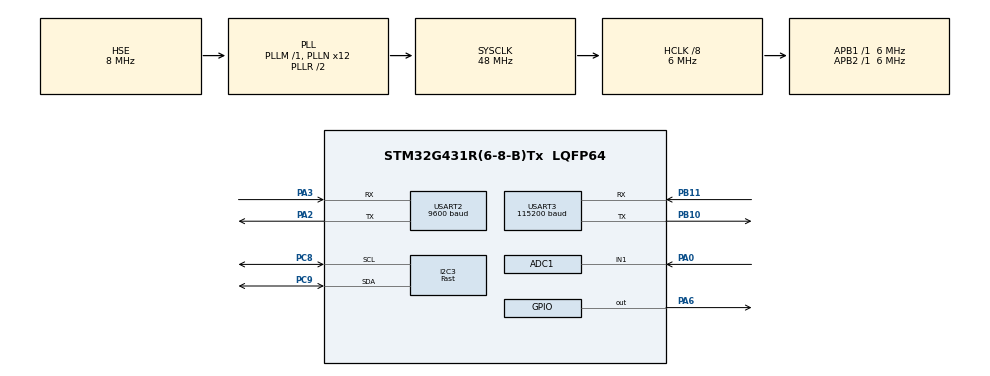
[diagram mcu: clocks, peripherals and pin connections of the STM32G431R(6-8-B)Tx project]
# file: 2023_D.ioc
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ADC1.Channel-0\#ChannelRegularConversion=ADC_CHANNEL_1
ADC1.ExternalTrigConv=ADC_EXTERNALTRIG_T3_TRGO
ADC1.NbrOfConversionFlag=1
ADC1.OffsetNumber-0\#ChannelRegularConversion=ADC_OFFSET_NONE
ADC1.Rank-0\#ChannelRegularConversion=1
ADC1.Resolution=ADC_RESOLUTION_10B
ADC1.SamplingTime-0\#ChannelRegularConversion=ADC_SAMPLETIME_2CYCLES_5
ADC1.master=1
Dma.ADC1.0.Direction=DMA_PERIPH_TO_MEMORY
Dma.ADC1.0.EventEnable=DISABLE
Dma.ADC1.0.Instance=DMA1_Channel1
Dma.ADC1.0.MemDataAlignment=DMA_MDATAALIGN_HALFWORD
Dma.ADC1.0.MemInc=DMA_MINC_ENABLE
Dma.ADC1.0.Mode=DMA_NORMAL
Dma.ADC1.0.PeriphDataAlignment=DMA_PDATAALIGN_HALFWORD
Dma.ADC1.0.PeriphInc=DMA_PINC_DISABLE
Dma.ADC1.0.Polarity=HAL_DMAMUX_REQ_GEN_RISING
Dma.ADC1.0.Priority=DMA_PRIORITY_LOW
Dma.ADC1.0.RequestNumber=1
Dma.ADC1.0.SignalID=NONE
Dma.ADC1.0.SyncEnable=DISABLE
Dma.ADC1.0.SyncPolarity=HAL_DMAMUX_SYNC_NO_EVENT
Dma.ADC1.0.SyncRequestNumber=1
Dma.ADC1.0.SyncSignalID=NONE
Dma.Request0=ADC1
I2C3.I2C_Speed_Mode=I2C_Fast
I2C3.Timing=0x00000107
Mcu.Family=STM32G4
Mcu.Name=STM32G431R(6-8-B)Tx
Mcu.Package=LQFP64
NVIC.ADC1_2_IRQn=true\:0\:0\:false\:false\:true\:true\:true\:true
NVIC.DMA1_Channel1_IRQn=true\:0\:0\:false\:false\:true\:false\:true\:true
NVIC.PriorityGroup=NVIC_PRIORITYGROUP_4
NVIC.TIM3_IRQn=true\:0\:0\:false\:false\:true\:true\:true\:true
NVIC.USART3_IRQn=true\:0\:0\:false\:false\:true\:true\:true\:true
PA0.Mode=IN1-Single-Ended
PA0.Signal=ADC1_IN1
PA13.Mode=Serial_Wire
PA13.Signal=SYS_JTMS-SWDIO
PA14.Mode=Serial_Wire
PA14.Signal=SYS_JTCK-SWCLK
PA2.Mode=Asynchronous
PA2.Signal=USART2_TX
PA3.Mode=Asynchronous
PA3.Signal=USART2_RX
PA6.Signal=GPIO_Output
PB10.Mode=Asynchronous
PB10.Signal=USART3_TX
PB11.Mode=Asynchronous
PB11.Signal=USART3_RX
PC14-OSC32_IN.Mode=LSE-External-Oscillator
PC14-OSC32_IN.Signal=RCC_OSC32_IN
PC15-OSC32_OUT.Mode=LSE-External-Oscillator
PC15-OSC32_OUT.Signal=RCC_OSC32_OUT
PC8.Mode=I2C
PC8.Signal=I2C3_SCL
PC9.Mode=I2C
PC9.Signal=I2C3_SDA
PF0-OSC_IN.Mode=HSE-External-Oscillator
PF0-OSC_IN.Signal=RCC_OSC_IN
PF1-OSC_OUT.Mode=HSE-External-Oscillator
PF1-OSC_OUT.Signal=RCC_OSC_OUT
ProjectManager.HeapSize=0x800
ProjectManager.StackSize=0x1600
ProjectManager.TargetToolchain=Makefile
RCC.ADC12Freq_Value=48000000
RCC.AHBCLKDivider=RCC_SYSCLK_DIV8
RCC.AHBFreq_Value=6000000
RCC.APB1Freq_Value=6000000
RCC.APB1TimFreq_Value=6000000
RCC.APB2Freq_Value=6000000
RCC.APB2TimFreq_Value=6000000
RCC.CortexFreq_Value=6000000
RCC.EXTERNAL_CLOCK_VALUE=12288000
RCC.HCLKFreq_Value=6000000
RCC.HSE_VALUE=8000000
RCC.HSI48_VALUE=48000000
RCC.HSI_VALUE=16000000
RCC.PLLN=12
RCC.PLLSourceVirtual=RCC_PLLSOURCE_HSE
RCC.SYSCLKFreq_VALUE=48000000
RCC.SYSCLKSource=RCC_SYSCLKSOURCE_PLLCLK
RCC.USBFreq_Value=48000000
RCC.VCOOutputFreq_Value=96000000
TIM3.PeriodNoDither=24
TIM3.Prescaler=3
TIM3.TIM_MasterOutputTrigger=TIM_TRGO_UPDATE
USART2.BaudRate=9600
USART2.VirtualMode-Asynchronous=VM_ASYNC
USART3.BaudRate=115200
USART3.VirtualMode-Asynchronous=VM_ASYNC
VP_SYS_VS_DBSignals.Mode=DisableDeadBatterySignals
VP_TIM3_VS_ClockSourceINT.Mode=Internal
board=custom

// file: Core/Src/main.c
/* USER CODE BEGIN Header */
/**
  ******************************************************************************
  * @file           : main.c
  * @brief          : Main program body
  ******************************************************************************
  * @attention
  *
  * Copyright (c) 2025 STMicroelectronics.
  * All rights reserved.
  *
  * This software is licensed under terms that can be found in the LICENSE file
  * in the root directory of this software component.
  * If no LICENSE file comes with this software, it is provided AS-IS.
  *
  ******************************************************************************
  */
/* USER CODE END Header */
#include "main.h"
#include "adc.h"
#include "dma.h"
#include "i2c.h"
#include "tim.h"
#include "usart.h"
#include "gpio.h"

/* USER CODE BEGIN Includes */
#include "FFT.h"
#include "oled.h"
#include "font.h"
#include "stdio.h"

/* USER CODE END Includes */

/* USER CODE BEGIN PTD */
uint8_t  RxBuffer[1];
uint8_t  Tx[1];
int t=0;

/* USER CODE END PTD */

void SystemClock_Config(void);

int main(void)
{

  /* MCU Configuration--------------------------------------------------------*/

  /* Reset of all peripherals, Initializes the Flash interface and the Systick. */
  HAL_Init();

  /* Configure the system clock */
  SystemClock_Config();

  /* Initialize all configured peripherals */
  MX_GPIO_Init();
  MX_DMA_Init();
  MX_I2C3_Init();
  MX_USART3_UART_Init();
  MX_ADC1_Init();
  MX_TIM3_Init();
  MX_USART2_UART_Init();
  /* USER CODE BEGIN 2 */
 // setvbuf(stdout, NULL, _IONBF, 0);  // 关闭 stdout 缓冲
  HAL_TIM_Base_Start(&htim3);//定时器触发ADC转换
  HAL_UART_Receive_IT(&huart3,RxBuffer,1);
  /* USER CODE END 2 */

  /* Infinite loop */
  /* USER CODE BEGIN WHILE */
  while (1)
  {
    HAL_Delay(2);
    if (RxBuffer[0]==1)
     {
     HAL_ADC_Start_DMA(&hadc1, (uint32_t*)&ADC_Value, 1024);
     HAL_Delay(20);
     HAL_ADC_Stop_DMA(&hadc1);
    ADC_FFT(ADC_Value);
    FFT_test(ADC_Value_V);
    RxBuffer[0] = 0;
    HAL_UART_Receive_IT(&huart3,RxBuffer,1);
    //HAL_GPIO_WritePin(GPIOA, GPIO_PIN_6, GPIO_PIN_SET);
     }

    /* USER CODE END WHILE */

  }
}

void SystemClock_Config(void)
{
  RCC_OscInitTypeDef RCC_OscInitStruct = {0};
  RCC_ClkInitTypeDef RCC_ClkInitStruct = {0};

  /** Configure the main internal regulator output voltage
  */
  HAL_PWREx_ControlVoltageScaling(PWR_REGULATOR_VOLTAGE_SCALE1);

  /** Initializes the RCC Oscillators according to the specified parameters
  * in the RCC_OscInitTypeDef structure.
  */
  RCC_OscInitStruct.OscillatorType = RCC_OSCILLATORTYPE_HSE;
  RCC_OscInitStruct.HSEState = RCC_HSE_ON;
  RCC_OscInitStruct.PLL.PLLState = RCC_PLL_ON;
  RCC_OscInitStruct.PLL.PLLSource = RCC_PLLSOURCE_HSE;
  RCC_OscInitStruct.PLL.PLLM = RCC_PLLM_DIV1;
  RCC_OscInitStruct.PLL.PLLN = 12;
  RCC_OscInitStruct.PLL.PLLP = RCC_PLLP_DIV2;
  RCC_OscInitStruct.PLL.PLLQ = RCC_PLLQ_DIV2;
  RCC_OscInitStruct.PLL.PLLR = RCC_PLLR_DIV2;
  if (HAL_RCC_OscConfig(&RCC_OscInitStruct) != HAL_OK)
  {
    Error_Handler();
  }

  /** Initializes the CPU, AHB and APB buses clocks
  */
  RCC_ClkInitStruct.ClockType = RCC_CLOCKTYPE_HCLK|RCC_CLOCKTYPE_SYSCLK
                              |RCC_CLOCKTYPE_PCLK1|RCC_CLOCKTYPE_PCLK2;
  RCC_ClkInitStruct.SYSCLKSource = RCC_SYSCLKSOURCE_PLLCLK;
  RCC_ClkInitStruct.AHBCLKDivider = RCC_SYSCLK_DIV8;
  RCC_ClkInitStruct.APB1CLKDivider = RCC_HCLK_DIV1;
  RCC_ClkInitStruct.APB2CLKDivider = RCC_HCLK_DIV1;

  if (HAL_RCC_ClockConfig(&RCC_ClkInitStruct, FLASH_LATENCY_0) != HAL_OK)
  {
    Error_Handler();
  }
}

void Error_Handler(void)
{
  __disable_irq();
  while (1)
  {
  }
}
